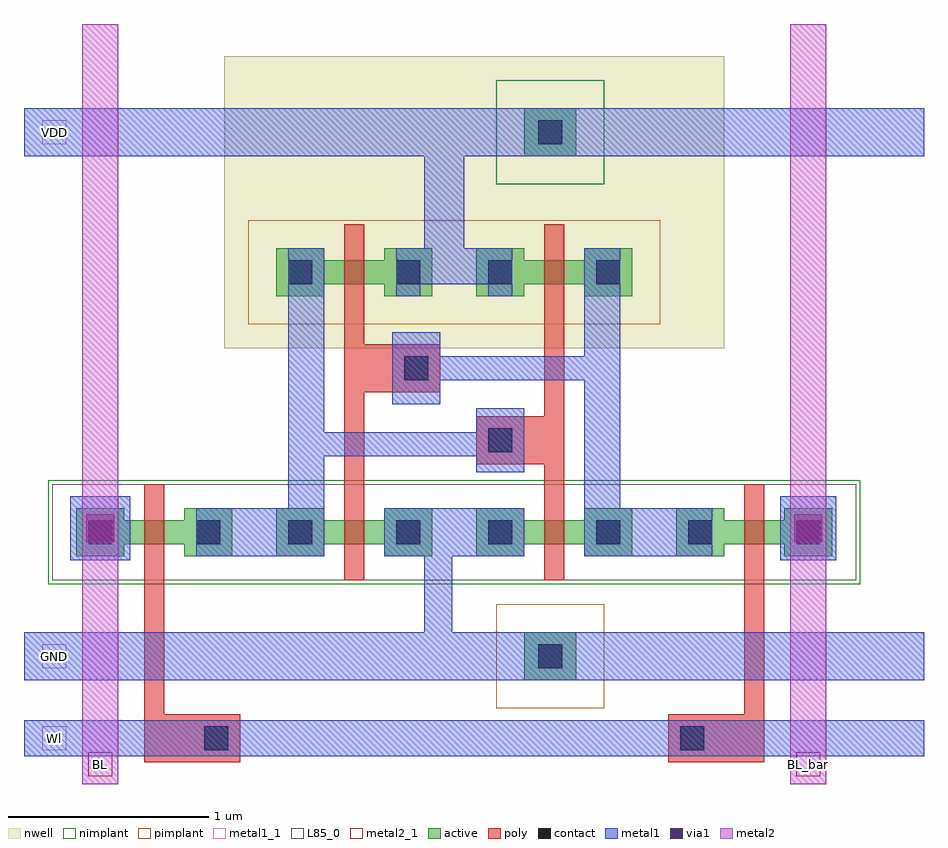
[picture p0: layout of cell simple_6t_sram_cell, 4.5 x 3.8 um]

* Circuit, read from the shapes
.subckt simple_6t_sram_cell BL BL_bar GND VDD Wl
M1 n1 Wl BL GND nfet w=0.12u l=0.1u
M2 GND n2 n1 GND nfet w=0.12u l=0.1u
M3 n2 n1 GND GND nfet w=0.12u l=0.1u
M4 BL_bar Wl n2 GND nfet w=0.12u l=0.1u
M5 VDD n2 n1 VDD pfet w=0.12u l=0.1u
M6 n2 n1 VDD VDD pfet w=0.12u l=0.1u
.ends

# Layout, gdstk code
import gdstk
lib = gdstk.Library(unit=1e-6, precision=5e-10)
def R(c, l, rs):  # rectangles x0, y0, x1, y1
    for r in rs: c.add(gdstk.rectangle(r[:2], r[2:], *l))
def A(c, l, x, y, w, h, nx, ny, dx, dy):  # array of equal rectangles
    R(c, l, [(x+i*dx, y+j*dy, x+i*dx+w, y+j*dy+h) for i in range(nx) for j in range(ny)])
active = (1, 0)
nwell = (2, 0)
poly = (3, 0)
nimplant = (4, 0)
pimplant = (5, 0)
contact = (6, 0)
metal1 = (7, 0)
metal1_1 = (7, 1)
via1 = (8, 0)
metal2 = (9, 0)
metal2_1 = (9, 1)
L85_0 = (85, 0)

nmos1v_0 = lib.new_cell('nmos1v_0')
A(nmos1v_0, active, -0.1, 0, 0.1, 0.12, 3, 1, 0.1, 0)
R(nmos1v_0, active, [(-0.34,-0.06,-0.1,0.18), (0.2,-0.06,0.44,0.18)])
R(nmos1v_0, poly, [(0,-0.18,0.1,-0.16), (0,-0.16,0.1,0), (0,0,0.1,0.12), (0,0.12,0.1,0.28), (0,0.28,0.1,0.3)])
R(nmos1v_0, nimplant, [(-0.48,-0.2,0.58,0.32), (-0.18,-0.18,0.28,0.3)])
R(nmos1v_0, contact, [(-0.28,0,-0.16,0.12), (0.26,0,0.38,0.12)])
R(nmos1v_0, metal1, [(-0.28,-0.06,-0.16,0.18), (0.26,-0.06,0.38,0.18)])
R(nmos1v_0, L85_0, [(-0.46,-0.18,0.56,0.3)])

pmos1v_1 = lib.new_cell('pmos1v_1')
A(pmos1v_1, active, -0.1, 0, 0.1, 0.12, 3, 1, 0.1, 0)
R(pmos1v_1, active, [(-0.34,-0.06,-0.1,0.18), (0.2,-0.06,0.44,0.18)])
R(pmos1v_1, nwell, [(-0.46,-0.18,0.56,0.3)])
R(pmos1v_1, poly, [(0,-0.18,0.1,-0.16), (0,-0.16,0.1,0), (0,0,0.1,0.12), (0,0.12,0.1,0.28), (0,0.28,0.1,0.3)])
R(pmos1v_1, pimplant, [(-0.48,-0.2,0.58,0.32), (-0.18,-0.18,0.28,0.3)])
R(pmos1v_1, contact, [(-0.28,0,-0.16,0.12), (0.26,0,0.38,0.12)])
R(pmos1v_1, metal1, [(-0.28,-0.06,-0.16,0.18), (0.26,-0.06,0.38,0.18)])

simple_6t_sram_cell = lib.new_cell('simple_6t_sram_cell')
R(simple_6t_sram_cell, active, [(1.9,-0.68,2.16,-0.44), (1.9,1.94,2.16,2.18)])
R(simple_6t_sram_cell, nwell, [(0.4,0.98,2.9,2.44)])
R(simple_6t_sram_cell, poly, [(0,-1.09,0.48,-0.85), (0,-1.09,0.1,0.3), (2.62,-1.09,3.1,-0.85), (3,-1.09,3.1,0.3), (1,0.3,1.1,1.12), (2,0.3,2.1,1.12), (1.66,0.4,2.1,0.64), (1,0.76,1.48,1)])
R(simple_6t_sram_cell, nimplant, [(1.3,-0.2,1.8,0.32), (1.76,1.8,2.3,2.32)])
R(simple_6t_sram_cell, pimplant, [(1.76,-0.82,2.3,-0.3)])
R(simple_6t_sram_cell, contact, [(0.3,-1.03,0.42,-0.91), (2.68,-1.03,2.8,-0.91), (1.97,-0.62,2.09,-0.5), (1.72,0.46,1.84,0.58), (1.3,0.82,1.42,0.94), (1.97,2,2.09,2.12)])
R(simple_6t_sram_cell, metal1, [(-0.6,-1.06,3.9,-0.88), (0.24,-1.06,0.48,-0.88), (2.62,-1.06,2.86,-0.88), (-0.6,-0.68,3.9,-0.44), (1.4,-0.68,1.54,0.18), (-0.37,-0.08,-0.07,0.24), (3.18,-0.08,3.46,0.24), (0.26,-0.06,0.9,0.18), (0.72,-0.06,0.9,1.48), (1.2,-0.06,1.9,0.18), (2.2,-0.06,2.38,1.48), (2.2,-0.06,2.84,0.18), (1.66,0.36,1.9,0.68), (0.72,0.44,1.78,0.56), (1.24,0.7,1.48,1.06), (1.36,0.82,2.38,0.94), (1.26,1.3,1.84,1.48), (1.4,1.3,1.6,2.18), (-0.6,1.94,3.9,2.18)])
R(simple_6t_sram_cell, metal1_1, [(-0.51,-1.03,-0.39,-0.91), (-0.51,-0.62,-0.39,-0.5), (-0.51,2,-0.39,2.12)])
R(simple_6t_sram_cell, via1, [(-0.29,0.01,-0.15,0.15), (3.25,0.01,3.39,0.15)])
R(simple_6t_sram_cell, metal2, [(-0.31,-1.2,-0.13,2.6), (3.23,-1.2,3.41,2.6)])
R(simple_6t_sram_cell, metal2_1, [(-0.28,-1.16,-0.16,-1.04), (3.26,-1.16,3.38,-1.04)])
simple_6t_sram_cell.add(gdstk.Reference(nmos1v_0, (3,0)))
simple_6t_sram_cell.add(gdstk.Reference(nmos1v_0, (2,0)))
simple_6t_sram_cell.add(gdstk.Reference(nmos1v_0, (1,0)))
simple_6t_sram_cell.add(gdstk.Reference(nmos1v_0, (0,0)))
simple_6t_sram_cell.add(gdstk.Reference(pmos1v_1, (2,1.3)))
simple_6t_sram_cell.add(gdstk.Reference(pmos1v_1, (1,1.3)))
simple_6t_sram_cell.add(gdstk.Label('GND', (-0.45,-0.56), layer=7, texttype=3))
simple_6t_sram_cell.add(gdstk.Label('VDD', (-0.45,2.06), layer=7, texttype=3))
simple_6t_sram_cell.add(gdstk.Label('Wl', (-0.45,-0.97), layer=7, texttype=3))
simple_6t_sram_cell.add(gdstk.Label('BL_bar', (3.32,-1.1), layer=9, texttype=3))
simple_6t_sram_cell.add(gdstk.Label('BL', (-0.22,-1.1), layer=9, texttype=3))

lib.write_gds('simple_6t_sram_cell.gds')
